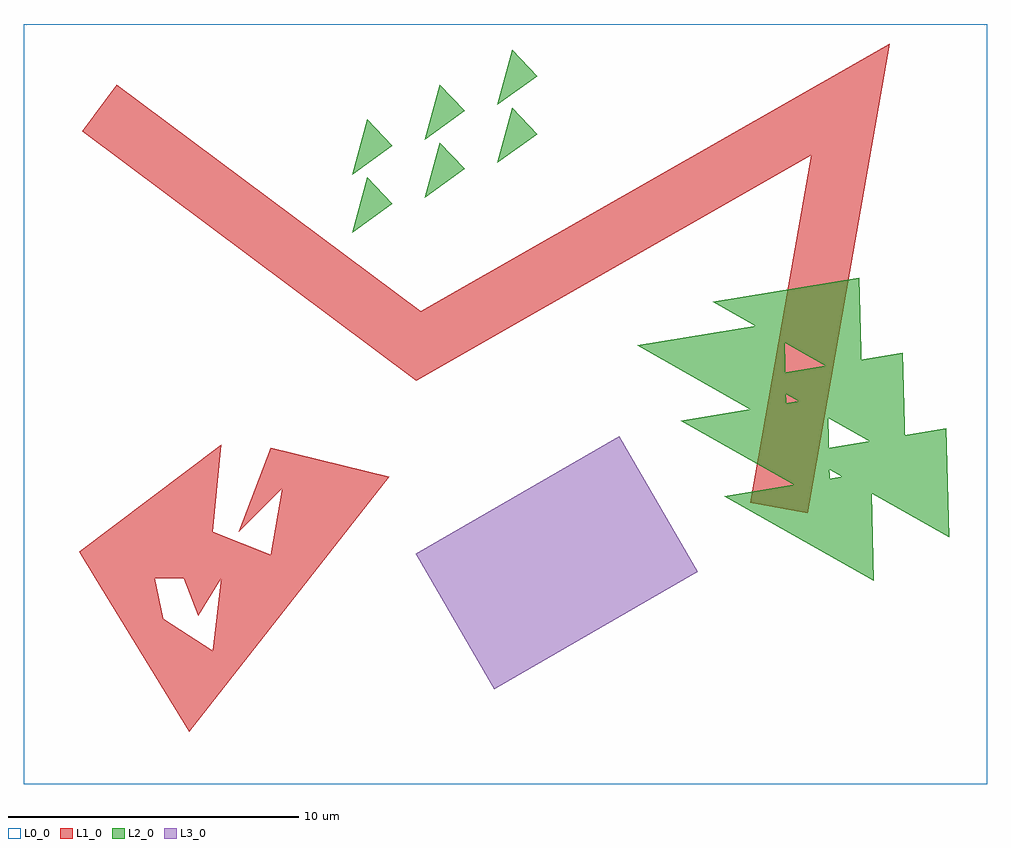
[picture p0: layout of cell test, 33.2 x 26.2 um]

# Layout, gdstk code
from math import pi, radians
import gdstk
lib = gdstk.Library(unit=1e-6, precision=1e-09)
def R(c, l, rs):  # rectangles x0, y0, x1, y1
    for r in rs: c.add(gdstk.rectangle(r[:2], r[2:], *l))
def P(c, l, *ps):  # polygons
    for p in ps: c.add(gdstk.Polygon(p, *l))
L0_0 = (0, 0)
L1_0 = (1, 0)
L2_0 = (2, 0)
L3_0 = (3, 0)

sub2 = lib.new_cell('sub2')
P(sub2, L2_0, [(-3.1,-0.4),(-2.1,1.3),(-1.5,0.2)])

subtest = lib.new_cell('subtest')
R(subtest, L3_0, [(-1.4,-0.9,1.3,0.9)])
r = gdstk.Reference(sub2, (5.1,-1.3)); r.repetition = gdstk.Repetition(2, 3, v1=(1,0), v2=(0,1)); subtest.add(r)

test = lib.new_cell('test')
R(test, L0_0, [(-4.1,-21.9,29.1,4.3)])
P(test, L1_0, [(1.6,-20.1),(-1.648,-14.8),(2.7,-14.8),(1.9,-16.1),(1.4,-14.8),(0.4,-14.8),(0.7,-16.2),(2.4,-17.3),(2.7,-14.8),(-1.648,-14.8),(-2.2,-13.9),(2.7,-10.2),(2.4,-13.2),(4.4,-14),(4.8,-11.7),(3.3,-13.2),(4.4,-10.3),(8.5,-11.3)])
test.add(gdstk.FlexPath([(-0.7,0.8),(9.5,-6.8),(24.4,1.7),(22.1,-11.4)], 2, ends="extended", simple_path=True, layer=1, datatype=0))  # L1_0
test.add(gdstk.Reference(subtest, (14.4,-14.2), rotation=radians(30), magnification=3, x_reflection=True))
r = gdstk.Reference(sub2, (10.1,0.3), rotation=radians(15)); r.repetition = gdstk.Repetition(3, 2, v1=(2.5,1.2), v2=(0,-2)); test.add(r)

lib.write_gds('test.gds')
